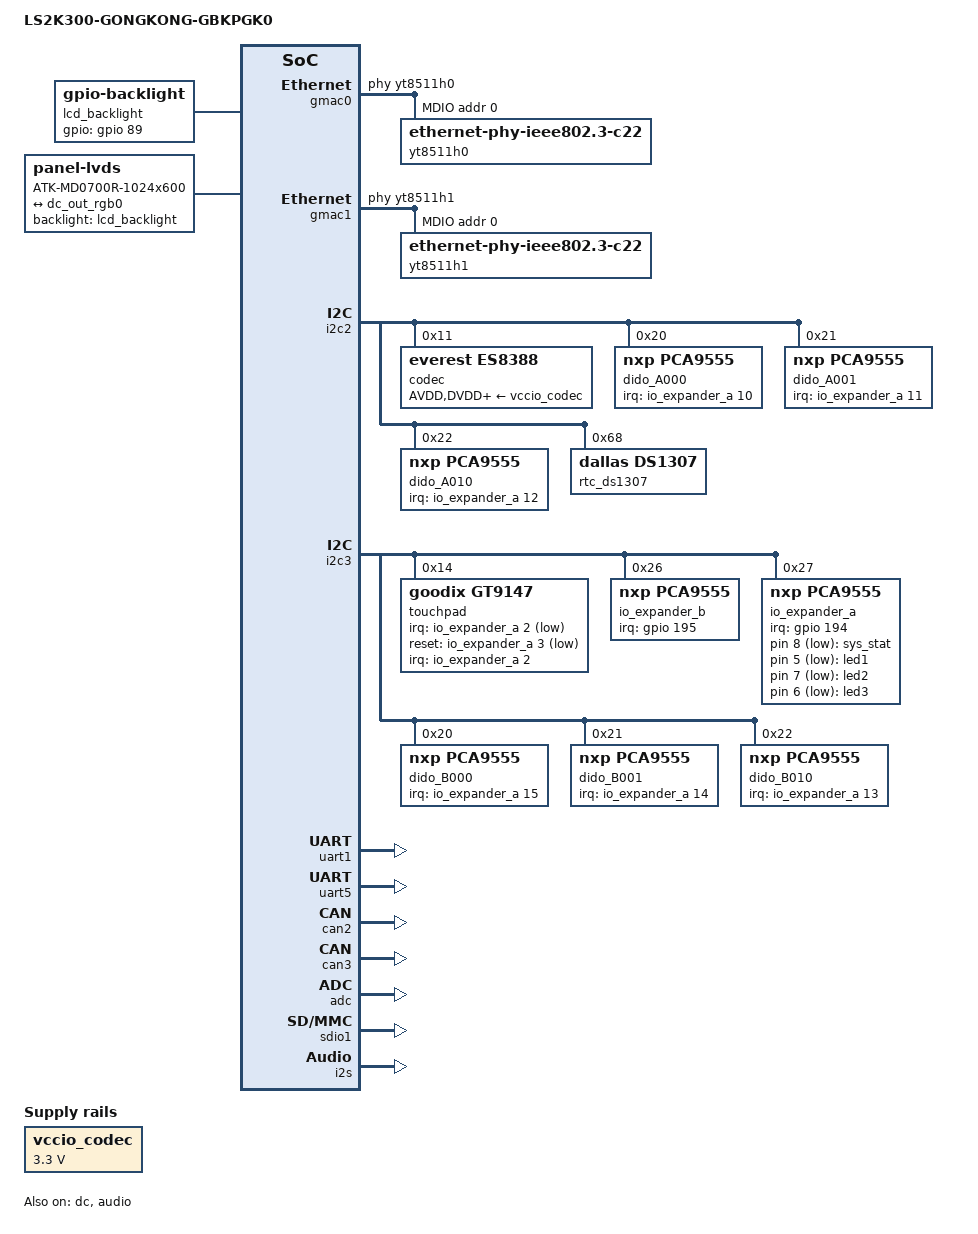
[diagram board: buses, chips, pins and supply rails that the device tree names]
// SPDX-License-Identifier: GPL-2.0
/*
 * Copyright (C) 2025 Loongson Technology Corporation Limited
 */

/dts-v1/;


#include "ls2k300_gongkong_g2k03z2_core.dtsi"
#include "loongson_panel_param.dtsi"

/ {
	model = "LS2K300-GONGKONG-GBKPGK0";

	leds {
		compatible = "gpio-leds";

		sys_stat {
			label = "sys_stat";
			gpios = <&io_expander_a 8 GPIO_ACTIVE_LOW>;
			linux,default-trigger = "heartbeat";
			default-state = "on";
		};

		led1 {
			label = "led1";
			gpios = <&io_expander_a 5 GPIO_ACTIVE_LOW>;
			default-state = "off";
		};

		led2 {
			label = "led2";
			gpios = <&io_expander_a 7 GPIO_ACTIVE_LOW>;
			default-state = "off";
		};

		led3 {
			label = "led3";
			gpios = <&io_expander_a 6 GPIO_ACTIVE_LOW>;
			default-state = "off";
		};
	};

	lcd_backlight: backlight {
		compatible = "gpio-backlight";
		gpios = <&gpio 89 GPIO_ACTIVE_HIGH>;
		default-on;
	};

	panel: dvo-connector@0 {
		#address-cells = <1>;
		#size-cells = <0>;
		compatible = "panel-lvds", "auo,b101ean01";
		backlight = <&lcd_backlight>;

		/* lcd power on control gpio */
		// enable-gpios = <&pioA 3 GPIO_ACTIVE_HIGH>;
		// power-supply = <&vdd_lcd>;
#if 0	// 4.3' LCD
		width-mm = <223>;
		height-mm = <125>;
		label = "ATK-MD0430R-800x480";
		data-mapping = "jeida-24";

		panel-timing {
			clock-frequency = <27000000>;
			hactive = <800>;
			vactive = <480>;
			hsync-len = <40>;
			hfront-porch = <48>;
			hback-porch = <40>;
			vfront-porch = <13>;
			vback-porch = <32>;
			vsync-len = <1>;
			de-active = <1>;
			hsync-active = <0>;
			vsync-active = <0>;
			pixelclk-active = <0>;
		};
#else	// 7' LCD
		width-mm = <223>;
		height-mm = <125>;
		label = "ATK-MD0700R-1024x600";
		data-mapping = "jeida-24";

		panel-timing {
			clock-frequency = <51200000>;
			hactive = <1024>;
			vactive = <600>;
			hsync-len = <20>;
			hfront-porch = <160>;
			hback-porch = <140>;
			vfront-porch = <12>;
			vback-porch = <20>;
			vsync-len = <3>;
			de-active = <1>;
			hsync-active = <0>;
			vsync-active = <0>;
			pixelclk-active = <0>;
		};
#endif
		port@0 {
			reg = <0>;

			#address-cells = <1>;
			#size-cells = <0>;

			dvo_connector_in: endpoint@0 {
				reg = <0>;
				remote-endpoint = <&dc_out_rgb0>;
			};
		};
	};

	vccio_codec: 3_3V{
		compatible = "regulator-fixed";
		regulator-name = "VCC_IO";
		regulator-min-microvolt = <3300000>;
		regulator-max-microvolt = <3300000>;
		regulator-always-on;
	};

	// 虽然这个时钟在从模式下没用，但 es8388 驱动必须指定这个时钟
	es8388_clk: es8388-clock {
		compatible = "fixed-clock";
		clock-frequency = <12288000>;
		#clock-cells = <1>;
	};
};

&dc {
	status = "ok";

	ports {
		#address-cells = <1>;
		#size-cells = <0>;

		port@0 {
			reg = <0>;
			dc_out_rgb0: endpoint {
				remote-endpoint = <&dvo_connector_in>;
			};
		};
	};
};

&gmac0 {
	status = "okay";
	phy-handle = <&yt8511h0>;
	mdio {
		compatible = "snps,dwmac-mdio";
		#address-cells = <1>;
		#size-cells = <0>;

		yt8511h0: ethernet-phy@0 {
			compatible = "ethernet-phy-ieee802.3-c22";
			reg = <0>;
			motorcomm,led0_cfg = <0x40>; //千兆常亮
			motorcomm,led1_cfg = <0x30>; //百兆 十兆常亮
			motorcomm,led2_cfg = <0x2600>; //有数据时闪烁
		};
	};
};

&gmac1 {
	status = "okay";
	phy-handle = <&yt8511h1>;
	mdio {
		compatible = "snps,dwmac-mdio";
		#address-cells = <1>;
		#size-cells = <0>;

		yt8511h1: ethernet-phy@1 {
			compatible = "ethernet-phy-ieee802.3-c22";
			reg = <0>;
			motorcomm,led0_cfg = <0x40>; //千兆常亮
			motorcomm,led1_cfg = <0x30>; //百兆 十兆常亮
			motorcomm,led2_cfg = <0x2600>; //有数据时闪烁
		};
	};
};

&i2c2 {
	//i2c-speed = <400000>;

	codec: es8388@11{
		compatible = "everest,es8388";
		reg = <0x11>;
		AVDD-supply = <&vccio_codec>;
		DVDD-supply = <&vccio_codec>;
		HPVDD-supply = <&vccio_codec>;
		PVDD-supply = <&vccio_codec>;
		clocks = <&es8388_clk 0>;
	};

	dido_A000: xl9555@20 {
		compatible = "nxp,pca9555";
		reg = <0x20>;
		gpio-controller;
		#gpio-cells = <2>;
		interrupt-parent = <&io_expander_a>;
		interrupts = <10 IRQ_TYPE_EDGE_FALLING>;
		interrupt-controller;
		#interrupt-cells = <2>;
	};

	dido_A001: xl9555@21 {
		compatible = "nxp,pca9555";
		reg = <0x21>;
		gpio-controller;
		#gpio-cells = <2>;
		interrupt-parent = <&io_expander_a>;
		interrupts = <11 IRQ_TYPE_EDGE_FALLING>;
		interrupt-controller;
		#interrupt-cells = <2>;
	};

	dido_A010: xl9555@22 {
		compatible = "nxp,pca9555";
		reg = <0x22>;
		gpio-controller;
		#gpio-cells = <2>;
		interrupt-parent = <&io_expander_a>;
		interrupts = <12 IRQ_TYPE_EDGE_FALLING>;
		interrupt-controller;
		#interrupt-cells = <2>;
	};

	rtc_ds1307@68 {
		compatible = "dallas,ds1307";
		reg = <0x68>;
	};
};

&i2c3 {
	i2c-speed = <400000>;

	touchpad: gt9147@14 {
		compatible = "goodix,gt9147";
		reg = <0x14>;
		interrupt-parent = <&io_expander_a>;
		interrupts = <2 IRQ_TYPE_EDGE_FALLING>;
		irq-gpios = <&io_expander_a 2 GPIO_ACTIVE_LOW>;
		reset-gpios = <&io_expander_a 3 GPIO_ACTIVE_LOW>;
	};

	io_expander_b: xl9555@26 {
		compatible = "nxp,pca9555";
		reg = <0x26>;
		gpio-controller;
		#gpio-cells = <2>;
		// 2K300 GPIO 支持中断控制
		// GPIO 中断号为 vhwirq-base + pinnum (195 = 128 + 67)
		interrupt-parent = <&gpio>;
		interrupts = <195 IRQ_TYPE_EDGE_FALLING>;
		interrupt-controller;
		#interrupt-cells = <2>;
	};

	io_expander_a: xl9555@27 {
		compatible = "nxp,pca9555";
		reg = <0x27>;
		gpio-controller;
		#gpio-cells = <2>;
		// 2K300 GPIO 支持中断控制
		// GPIO 中断号为 vhwirq-base + pinnum (194 = 128 + 66)
		interrupt-parent = <&gpio>;
		interrupts = <194 IRQ_TYPE_EDGE_FALLING>;
		interrupt-controller;
		#interrupt-cells = <2>;
	};

	dido_B000: xl9555@20 {
		compatible = "nxp,pca9555";
		reg = <0x20>;
		gpio-controller;
		#gpio-cells = <2>;
		interrupt-parent = <&io_expander_a>;
		interrupts = <15 IRQ_TYPE_EDGE_FALLING>;
		interrupt-controller;
		#interrupt-cells = <2>;
	};

	dido_B001: xl9555@21 {
		compatible = "nxp,pca9555";
		reg = <0x21>;
		gpio-controller;
		#gpio-cells = <2>;
		interrupt-parent = <&io_expander_a>;
		interrupts = <14 IRQ_TYPE_EDGE_FALLING>;
		interrupt-controller;
		#interrupt-cells = <2>;
	};

	dido_B010: xl9555@22 {
		compatible = "nxp,pca9555";
		reg = <0x22>;
		gpio-controller;
		#gpio-cells = <2>;
		interrupt-parent = <&io_expander_a>;
		interrupts = <13 IRQ_TYPE_EDGE_FALLING>;
		interrupt-controller;
		#interrupt-cells = <2>;
	};
};

&uart1 {
	status = "okay";
};

&uart5 {
	status = "okay";
};

&can2 {
	status = "ok";
	ls,canfd-stb-gpio = <&gpio 60 GPIO_ACTIVE_HIGH>;
};

&can3 {
	status = "ok";
	ls,canfd-stb-gpio = <&gpio 60 GPIO_ACTIVE_HIGH>;
};

&adc {
	status = "okay";
};

&sdio1 {
	//cd-gpios = <&io_expander_a 4 GPIO_ACTIVE_LOW>;
	status = "okay";
};

&i2s {
	status = "okay";
};

&audio {
	status = "okay";
};

&sound {
	status = "okay";
	loongson,audio-codec = <&codec>;
	// Easy Compatible for asound.state Configure
	loongson,sound-card-name = "ES8388";
};

